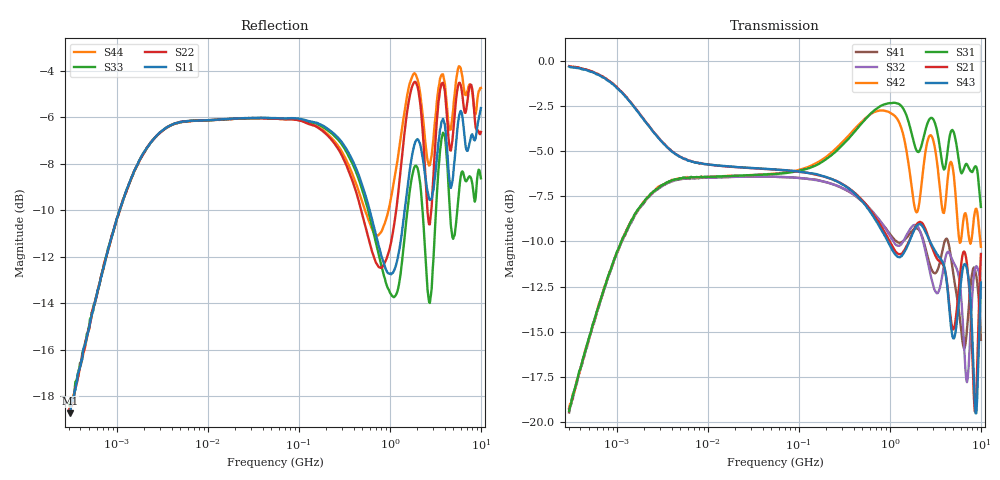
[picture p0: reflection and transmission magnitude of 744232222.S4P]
! This data is being provided by Wuerth Elektronik eiSos GmbH & Co. KG to the industry for analysis.
! Document information:
! Version:rev19a Date: 16/12/2019
! Component information:
! Match Code: WE-CNSW P/N: 744232222 Size: 1206
! Disclaimer:  While Würth Elektronik eiSos has made every reasonable effort to ensure the accuracy
! of the information provided, Würth Elektronik eiSos does not guarantee the exemption of error on the
! data collection measurements, nor does Würth Elektronik eiSos guarantee that the information is current.
! Würth Elektronik eiSos reserves the right to make any adjustments at any time without notice.
! Würth Elektronik eiSos expressly disclaims all implied warranties regarding this measurement data collection.
! Note 1  This data measurement is representative according to the product implementation into the fixture.
! Component behavior is sensitive to implementation into the fixture, which includes board
! materials, trace geometry information, connector pin out, layer connection, use of de-embedding
! techniques, etc.
! Note 2 - The fixture was designed specifically to match the 50 Ohm line impedance, as well as the connector impedance,
! in order to accomplish a reliable measurement without reflections in the trace. Any other implementation of the fixture will change the obtained
! measurement performance. The used fixture behavior was de-embedded to accomplish reliable measurement results.
! The test setup consisted of the following:
!  - Agilent VNA E5071C or E5071B
!  - Calibrations are SOLT (short open load thru)
!  - De-embedding of the SMA's or line cards were included
!  - Equipment Settings -
!  - Sampling - 501 points
!  - IF BW  70 kHz
!  - Averaging  Not used
!  Port 1----->|1|  |2| -----> Port 3
!  |  DUT  |
!  Port 2----->|3|  |4| -----> Port 4
!*VNA Port --> |Port in Datasheet|
! |Port in Datasheet| --> VNA Port
! For further information regarding this testing, please contact
! Wuerth Elektronik eiSos
! Contact: EDA team in QDC
! Email: libraries@we-online.com or libraries@we-online.de
# Hz S dB R 50
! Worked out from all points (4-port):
!   501 points, 300 kHz to 10 GHz, reference 50 ohm
!   strongest paths, dB at 300 kHz, 4.054 MHz, 54.77 MHz, 740.1 MHz, 10 GHz:
!     S43: -0.3, -5.0, -6.0, -9.0, -12.3
!     S21: -0.3, -5.0, -6.0, -8.9, -10.7
!     S31: -19.4, -6.6, -6.3, -2.6, -8.1
!     S42: -19.3, -6.6, -6.2, -2.8, -10.3
!     S32: -19.2, -6.7, -6.4, -8.7, -12.6
!     S41: -19.5, -6.7, -6.4, -8.7, -15.5
!   lowest |S11| = -18.7 dB at 307.3 kHz (marker M1), VSWR 1.26, Z = 52.4 + j11.7 ohm
!   |S11| at or under -10 dB: start of sweep to 1.075 MHz; 600.8 MHz to 1.455 GHz (854.3 MHz wide, 83.1 % of centre)
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300000  -18.67 71.6  -0.28 -6.2  -19.24 75.2  -19.29 -104.6
        -0.29 -6.4  -18.58 75.0  -19.37 -104.0  -19.27 75.9
        -19.39 75.9  -19.23 -104.0  -18.35 72.5  -0.34 -6.6
        -19.47 -103.5  -19.27 75.9  -0.31 -6.4  -18.59 72.0
307335  -18.74 71.9  -0.29 -6.5  -19.15 75.8  -19.08 -104.3
        -0.31 -6.4  -18.60 72.5  -19.25 -103.9  -19.11 76.0
        -19.14 76.9  -19.09 -103.9  -18.44 70.1  -0.34 -6.2
        -19.19 -103.1  -18.99 76.0  -0.34 -6.5  -18.44 69.6
7.215459e7  -6.06 -3.3  -6.06 -12.3  -6.20 5.2  -6.43 170.3
            -6.06 -12.3  -6.10 -3.9  -6.43 169.3  -6.18 5.1
            -6.21 5.3  -6.44 169.4  -6.08 -4.3  -6.06 -12.2
            -6.44 170.3  -6.18 5.1  -6.05 -12.2  -6.09 -3.2
9.566785e8  -12.71 -11.3  -9.82 -117.9  -2.34 -6.0  -9.44 65.4
            -9.82 -117.9  -11.89 9.7  -9.51 59.3  -2.81 -15.7
            -2.35 -5.9  -9.52 59.3  -13.38 -19.2  -10.03 -117.3
            -9.44 65.4  -2.81 -15.8  -10.03 -117.2  -10.08 12.5
2.30314e9  -7.78 -19.3  -9.01 98.5  -4.39 -16.7  -9.83 -80.0
           -9.02 98.5  -6.69 -33.8  -9.92 -65.0  -6.18 -11.4
           -4.41 -16.7  -9.92 -65.0  -10.19 -29.5  -9.20 96.7
           -9.84 -79.9  -6.18 -11.3  -9.19 96.7  -5.96 -24.4
4.117521e9  -6.71 -25.1  -11.81 -78.9  -5.74 -32.8  -9.86 86.5
            -11.81 -78.8  -5.35 -27.6  -10.79 93.0  -7.70 -32.7
            -5.74 -32.7  -10.81 92.9  -7.19 -24.1  -11.86 -77.9
            -9.87 86.4  -7.70 -32.8  -11.86 -77.9  -5.00 -25.7
1e10  -5.61 -77.8  -10.70 28.3  -8.05 -91.2  -15.45 -109.4
      -10.69 28.4  -6.64 -76.9  -12.53 -102.9  -10.31 -93.1
      -8.09 -91.0  -12.60 -102.9  -8.63 -53.8  -12.33 31.7
      -15.45 -109.1  -10.29 -92.7  -12.28 32.1  -4.74 -67.9
